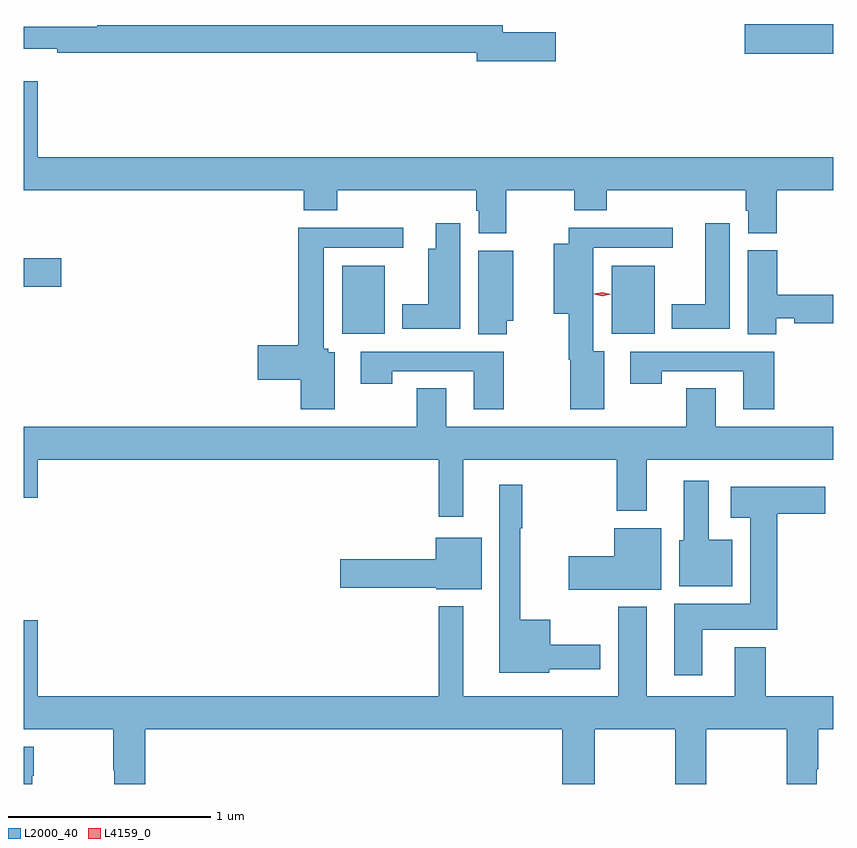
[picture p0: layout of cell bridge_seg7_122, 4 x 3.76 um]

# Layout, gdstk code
import gdstk
lib = gdstk.Library(unit=1e-6, precision=1e-09)
def R(c, l, rs):  # rectangles x0, y0, x1, y1
    for r in rs: c.add(gdstk.rectangle(r[:2], r[2:], *l))
def P(c, l, *ps):  # polygons
    for p in ps: c.add(gdstk.Polygon(p, *l))
L2000_40 = (2000, 40)
L4159_0 = (4159, 0)

bridge_seg7_122 = lib.new_cell('bridge_seg7_122')
R(bridge_seg7_122, L2000_40, [(670.172,1054.52,670.384,1054.855), (671.504,1054.52,671.716,1054.855), (668.599,1054.751,668.785,1054.893), (672.162,1055.903,672.599,1056.05)])
P(bridge_seg7_122, L2000_40, [(671.227,1056.008),(670.966,1056.008),(670.966,1056.044),(668.962,1056.044),(668.962,1056.037),(668.599,1056.037),(668.599,1055.927),(668.764,1055.927),(668.764,1055.908),(670.838,1055.908),(670.838,1055.866),(671.227,1055.866)],
  [(668.668,1055.767),(668.599,1055.767),(668.599,1055.228),(669.983,1055.228),(669.983,1055.129),(670.148,1055.129),(670.148,1055.228),(670.835,1055.228),(670.835,1055.127),(670.847,1055.127),(670.847,1055.015),(670.983,1055.015),(670.983,1055.228),(671.32,1055.228),(671.32,1055.129),(671.48,1055.129),(671.48,1055.228),(672.167,1055.228),(672.167,1055.127),(672.179,1055.127),(672.179,1055.017),(672.32,1055.017),(672.32,1055.228),(672.599,1055.228),(672.599,1055.392),(668.668,1055.392)],
  [(672.088,1055.065),(671.966,1055.065),(671.966,1054.666),(671.801,1054.666),(671.801,1054.544),(672.088,1054.544)],
  [(670.756,1055.065),(670.634,1055.065),(670.634,1054.939),(670.598,1054.939),(670.598,1054.666),(670.469,1054.666),(670.469,1054.544),(670.756,1054.544)],
  [(671.467,1054.432),(671.413,1054.432),(671.413,1054.944),(671.806,1054.944),(671.806,1055.042),(671.293,1055.042),(671.293,1054.963),(671.219,1054.963),(671.219,1054.619),(671.293,1054.619),(671.293,1054.391),(671.3,1054.391),(671.3,1054.146),(671.467,1054.146)],
  [(670.135,1054.428),(670.104,1054.428),(670.104,1054.446),(670.081,1054.446),(670.081,1054.944),(670.474,1054.944),(670.474,1055.042),(669.956,1055.042),(669.956,1054.463),(669.756,1054.463),(669.756,1054.292),(669.968,1054.292),(669.968,1054.146),(670.135,1054.146)],
  [(672.318,1054.595),(672.406,1054.595),(672.406,1054.571),(672.599,1054.571),(672.599,1054.712),(672.323,1054.712),(672.323,1054.932),(672.176,1054.932),(672.176,1054.516),(672.318,1054.516)],
  [(670.986,1054.583),(671.017,1054.583),(671.017,1054.93),(670.844,1054.93),(670.844,1054.516),(670.986,1054.516)],
  [(670.971,1054.431),(670.263,1054.431),(670.263,1054.272),(670.419,1054.272),(670.419,1054.335),(670.823,1054.335),(670.823,1054.146),(670.971,1054.146)],
  [(672.308,1054.431),(671.595,1054.431),(671.595,1054.272),(671.751,1054.272),(671.751,1054.335),(672.155,1054.335),(672.155,1054.146),(672.308,1054.146)],
  [(670.771,1053.896),(671.53,1053.896),(671.53,1053.644),(671.677,1053.644),(671.677,1053.896),(672.599,1053.896),(672.599,1054.06),(672.019,1054.06),(672.019,1054.25),(671.872,1054.25),(671.872,1054.06),(670.687,1054.06),(670.687,1054.25),(670.54,1054.25),(670.54,1054.06),(668.599,1054.06),(668.599,1053.708),(668.668,1053.708),(668.668,1053.896),(670.65,1053.896),(670.65,1053.615),(670.771,1053.615)],
  [(672.1,1053.502),(671.983,1053.502),(671.983,1053.793),(671.861,1053.793),(671.861,1053.498),(671.837,1053.498),(671.837,1053.272),(672.1,1053.272)],
  [(671.196,1052.861),(671.449,1052.861),(671.449,1052.983),(671.2,1052.983),(671.2,1053.106),(671.053,1053.106),(671.053,1053.559),(671.063,1053.559),(671.063,1053.772),(670.949,1053.772),(670.949,1052.843),(671.196,1052.843)],
  [(671.953,1053.056),(672.323,1053.056),(672.323,1053.629),(672.559,1053.629),(672.559,1053.763),(672.093,1053.763),(672.093,1053.611),(672.188,1053.611),(672.188,1053.184),(671.813,1053.184),(671.813,1052.832),(671.953,1052.832)],
  [(671.749,1053.559),(671.516,1053.559),(671.516,1053.42),(671.292,1053.42),(671.292,1053.254),(671.749,1053.254)],
  [(670.861,1053.511),(670.634,1053.511),(670.634,1053.405),(670.164,1053.405),(670.164,1053.263),(670.638,1053.263),(670.638,1053.257),(670.861,1053.257)],
  [(669.2,1052.564),(671.261,1052.564),(671.261,1052.294),(671.42,1052.294),(671.42,1052.564),(671.818,1052.564),(671.818,1052.294),(671.972,1052.294),(671.972,1052.564),(672.37,1052.564),(672.37,1052.294),(672.517,1052.294),(672.517,1052.368),(672.525,1052.368),(672.525,1052.564),(672.599,1052.564),(672.599,1052.728),(672.266,1052.728),(672.266,1052.971),(672.113,1052.971),(672.113,1052.728),(671.677,1052.728),(671.677,1053.169),(671.537,1053.169),(671.537,1052.728),(670.771,1052.728),(670.771,1053.172),(670.65,1053.172),(670.65,1052.728),(668.668,1052.728),(668.668,1053.103),(668.599,1053.103),(668.599,1052.564),(669.04,1052.564),(669.04,1052.362),(669.047,1052.362),(669.047,1052.294),(669.2,1052.294)],
  [(668.641,1052.334),(668.649,1052.334),(668.649,1052.479),(668.599,1052.479),(668.599,1052.294),(668.641,1052.294)])
P(bridge_seg7_122, L4159_0, [(671.458,1054.705),(671.418,1054.715),(671.418,1054.716),(671.418,1054.716),(671.458,1054.725),(671.499,1054.715),(671.499,1054.715),(671.499,1054.715)])

lib.write_gds('bridge_seg7_122.gds')
